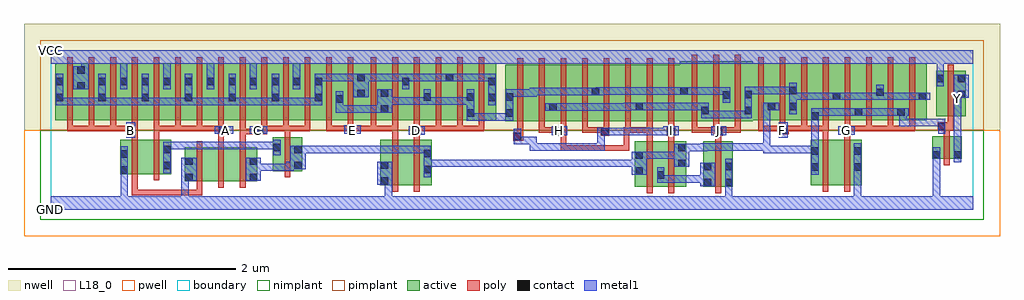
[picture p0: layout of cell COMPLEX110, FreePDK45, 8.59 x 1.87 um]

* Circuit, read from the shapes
.subckt COMPLEX110 A B C D E F G GND H I J VCC Y
M1 n1 B GND VSUBS nfet w=0.3u l=0.05u
M2 n2 A n1 VSUBS nfet w=0.3u l=0.05u
M3 n3 B GND VSUBS nfet w=0.3u l=0.05u
M4 n4 A n3 VSUBS nfet w=0.3u l=0.05u
M5 n5 C n4 VSUBS nfet w=0.3u l=0.05u
M6 n5 C n2 VSUBS nfet w=0.3u l=0.05u
M7 n6 E GND VSUBS nfet w=0.4u l=0.05u
M8 n5 D n6 VSUBS nfet w=0.4u l=0.05u
M9 n7 H n5 VSUBS nfet w=0.4u l=0.05u
M10 n5 I n7 VSUBS nfet w=0.4u l=0.05u
M11 GND J n7 VSUBS nfet w=0.4u l=0.05u
M12 n8 F n5 VSUBS nfet w=0.4u l=0.05u
M13 GND G n8 VSUBS nfet w=0.4u l=0.05u
M14 Y n5 GND VSUBS nfet w=0.2u l=0.05u
M15 VCC B n9 n10 pfet w=0.5u l=0.05u m=4
M16 VCC A n9 n10 pfet w=0.5u l=0.05u m=4
M17 VCC C n9 n10 pfet w=0.5u l=0.05u m=4
M18 n11 E n9 n10 pfet w=0.5u l=0.05u m=4
M19 n11 D n9 n10 pfet w=0.5u l=0.05u m=4
M20 n12 I n11 n10 pfet w=0.5u l=0.05u
M21 n13 H n12 n10 pfet w=0.5u l=0.05u
M22 n14 H n13 n10 pfet w=0.5u l=0.05u
M23 n11 I n14 n10 pfet w=0.5u l=0.05u
M24 n15 I n11 n10 pfet w=0.5u l=0.05u
M25 n13 H n15 n10 pfet w=0.5u l=0.05u
M26 n16 H n13 n10 pfet w=0.5u l=0.05u
M27 n11 I n16 n10 pfet w=0.5u l=0.05u
M28 n13 J n11 n10 pfet w=0.532u l=0.05u m=3
M29 n5 F n13 n10 pfet w=0.5u l=0.05u m=4
M30 n5 G n13 n10 pfet w=0.5u l=0.05u m=4
M31 Y n5 VCC n10 pfet w=0.4u l=0.05u
.ends

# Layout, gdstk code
import gdstk
lib = gdstk.Library(unit=1e-6, precision=1e-09)
def R(c, l, rs):  # rectangles x0, y0, x1, y1
    for r in rs: c.add(gdstk.rectangle(r[:2], r[2:], *l))
def A(c, l, x, y, w, h, nx, ny, dx, dy):  # array of equal rectangles
    R(c, l, [(x+i*dx, y+j*dy, x+i*dx+w, y+j*dy+h) for i in range(nx) for j in range(ny)])
active = (1, 0)
pwell = (2, 0)
nwell = (3, 0)
nimplant = (4, 0)
pimplant = (5, 0)
poly = (9, 0)
contact = (10, 0)
metal1 = (11, 0)
L18_0 = (18, 0)
boundary = (235, 0)

complex110 = lib.new_cell('COMPLEX110')
A(complex110, active, 0.415, 0.787, 0.265, 0.5, 4, 1, 0.19, 0)
A(complex110, active, 1.56, 0.787, 0.26, 0.5, 3, 1, 0.38, 0)
A(complex110, active, 0.415, 0.807, 0.075, 0.393, 3, 1, 0.38, 0)
A(complex110, active, 1.56, 0.807, 0.075, 0.393, 3, 1, 0.38, 0)
R(complex110, active, [(5.142,0.2,5.407,0.6), (5.332,0.2,5.592,0.6), (5.745,0.2,5.82,0.492), (5.745,0.2,6.005,0.6), (5.93,0.2,6.005,0.492), (2.902,0.212,3.127,0.612), (2.902,0.212,2.977,0.612), (3.127,0.212,3.352,0.612), (6.69,0.212,6.915,0.612), (6.915,0.212,7.14,0.612), (3.277,0.232,3.352,0.612), (7.065,0.232,7.14,0.612), (5.142,0.245,5.217,0.6), (5.332,0.245,5.407,0.492), (5.517,0.245,5.592,0.6), (6.69,0.245,6.765,0.612), (1.18,0.247,1.255,0.547), (1.18,0.247,1.405,0.547), (1.405,0.247,1.595,0.547), (1.595,0.247,1.82,0.547), (1.745,0.247,1.82,0.547), (0.61,0.312,0.685,0.612), (0.61,0.312,0.835,0.612), (0.835,0.312,1.06,0.612), (0.985,0.312,1.06,0.612), (1.955,0.337,2.215,0.637), (2.14,0.337,2.215,0.637), (1.955,0.345,2.03,0.637), (7.757,0.445,7.832,0.645), (7.757,0.445,8.017,0.645), (7.942,0.445,8.017,0.645), (4.002,0.775,4.227,1.275), (4.002,0.775,4.107,1.2), (4.227,0.775,4.457,1.275), (4.382,0.775,4.607,1.275), (4.607,0.775,4.832,1.275), (4.757,0.775,4.987,1.275), (4.987,0.775,5.217,1.275), (5.142,0.775,5.217,1.07), (5.142,0.775,5.367,1.275), (5.367,0.775,5.612,1.275), (5.537,0.775,5.797,1.307), (5.722,0.775,5.987,1.307), (5.722,0.775,5.797,1.07), (5.912,0.775,6.177,1.307), (5.912,0.775,5.987,1.2), (0.04,0.787,0.115,1.2), (0.04,0.787,0.305,1.287), (0.23,0.787,0.49,1.287), (1.175,0.787,1.445,1.287), (1.37,0.787,1.635,1.287), (1.745,0.787,2.015,1.287), (2.125,0.787,2.395,1.287), (2.505,0.787,2.77,1.287), (2.695,0.787,2.977,1.287), (2.902,0.787,3.162,1.287), (3.087,0.787,3.352,1.287), (3.277,0.787,3.547,1.287), (3.472,0.787,3.732,1.287), (3.657,0.787,3.922,1.287), (3.657,0.787,3.732,1.07), (3.847,0.787,3.922,1.2), (6.102,0.787,6.382,1.287), (6.307,0.787,6.572,1.287), (6.497,0.787,6.765,1.287), (6.69,0.787,6.952,1.287), (6.69,0.787,6.765,1.07), (6.877,0.787,7.147,1.287), (7.072,0.787,7.337,1.287), (7.262,0.787,7.522,1.287), (7.447,0.787,7.712,1.287), (7.637,0.787,7.712,1.2), (5.537,0.802,5.612,1.2), (6.877,0.802,6.952,1.2), (0.23,0.807,0.305,1.287), (0.605,0.807,0.68,1.255), (0.985,0.807,1.06,1.255), (1.37,0.807,1.445,1.255), (1.745,0.807,1.82,1.255), (2.125,0.807,2.2,1.255), (2.505,0.807,2.58,1.07), (2.695,0.807,2.77,1.2), (2.902,0.807,2.977,1.07), (3.087,0.807,3.162,1.2), (3.277,0.807,3.352,1.07), (3.472,0.807,3.547,1.2), (4.382,0.807,4.457,1.07), (4.757,0.807,4.832,1.2), (6.102,0.807,6.177,1.2), (6.307,0.807,6.382,1.07), (6.497,0.807,6.572,1.2), (7.072,0.807,7.147,1.07), (7.262,0.807,7.337,1.2), (7.447,0.807,7.522,1.07), (7.792,0.82,8.052,1.22), (7.792,0.82,7.867,1.22), (7.977,0.82,8.052,1.2)])
R(complex110, pwell, [(-0.235,-0.235,8.355,0.7)])
R(complex110, nwell, [(-0.235,0.7,8.355,1.635)])
R(complex110, nimplant, [(-0.09,-0.09,8.21,0.7)])
R(complex110, pimplant, [(-0.09,0.7,8.21,1.49)])
A(complex110, poly, 1.285, 0.192, 0.05, 0.41, 3, 1, 0.19, 0)
A(complex110, poly, 4.297, 0.675, 0.05, 0.095, 7, 1, 0.19, 0)
A(complex110, poly, 5.642, 0.675, 0.05, 0.095, 3, 1, 0.19, 0)
A(complex110, poly, 0.145, 0.687, 0.05, 0.095, 8, 1, 0.19, 0)
A(complex110, poly, 1.285, 0.687, 0.24, 0.05, 3, 1, 0.57, 0)
A(complex110, poly, 1.855, 0.687, 0.05, 0.095, 5, 1, 0.19, 0)
A(complex110, poly, 2.235, 0.687, 0.05, 0.05, 3, 1, 0.19, 0)
A(complex110, poly, 2.817, 0.687, 0.05, 0.095, 6, 1, 0.19, 0)
A(complex110, poly, 6.227, 0.687, 0.05, 0.095, 8, 1, 0.19, 0)
A(complex110, poly, 4.107, 0.72, 0.05, 0.61, 8, 1, 0.19, 0)
A(complex110, poly, 5.642, 0.72, 0.05, 0.642, 3, 1, 0.19, 0)
A(complex110, poly, 0.145, 0.732, 0.05, 0.61, 14, 1, 0.19, 0)
A(complex110, poly, 2.817, 0.732, 0.05, 0.61, 6, 1, 0.19, 0)
A(complex110, poly, 6.227, 0.732, 0.05, 0.61, 8, 1, 0.19, 0)
R(complex110, poly, [(0.715,0.125,0.765,0.175), (0.715,0.125,0.765,0.175), (0.715,0.125,0.765,0.175), (0.715,0.125,0.897,0.175), (0.715,0.125,0.765,0.307), (0.847,0.125,0.897,0.175), (0.847,0.125,0.897,0.175), (0.847,0.125,0.897,0.175), (0.847,0.125,1.16,0.175), (1.11,0.125,1.16,0.175), (1.11,0.125,1.16,0.175), (1.11,0.125,1.16,0.175), (1.11,0.125,1.335,0.175), (1.285,0.125,1.335,0.175), (1.285,0.125,1.335,0.242), (5.247,0.145,5.297,0.655), (5.437,0.145,5.487,0.655), (5.85,0.145,5.9,0.655), (3.007,0.157,3.057,0.667), (3.197,0.157,3.247,0.667), (6.795,0.157,6.845,0.667), (6.985,0.157,7.035,0.667), (0.715,0.257,0.765,0.667), (0.905,0.257,0.955,0.667), (2.06,0.282,2.11,0.692), (7.862,0.39,7.912,0.7), (4.487,0.517,4.537,0.567), (4.487,0.517,4.537,0.567), (4.487,0.517,4.537,0.567), (4.487,0.517,4.747,0.567), (4.487,0.517,4.537,0.7), (4.697,0.517,4.747,0.567), (4.697,0.517,4.747,0.567), (4.697,0.517,4.747,0.567), (4.697,0.517,4.96,0.567), (4.91,0.517,4.96,0.567), (4.91,0.517,5.092,0.567), (5.042,0.517,5.092,0.567), (5.042,0.517,5.092,0.567), (5.042,0.517,5.092,0.567), (5.042,0.517,5.092,0.725), (1.475,0.552,1.525,0.712), (1.665,0.552,1.715,0.712), (4.072,0.605,4.157,0.68), (5.247,0.605,5.297,0.725), (5.437,0.605,5.487,0.7), (5.85,0.605,5.9,0.7), (0.715,0.617,0.765,0.712), (0.905,0.617,0.955,0.737), (3.007,0.617,3.057,0.737), (3.197,0.617,3.247,0.712), (6.795,0.617,6.845,0.737), (6.985,0.617,7.035,0.712), (4.107,0.63,4.157,0.77), (2.06,0.642,2.11,0.737), (4.442,0.65,4.537,0.725), (4.487,0.65,4.537,0.7), (4.487,0.65,4.537,0.7), (4.842,0.65,4.917,0.725), (5.422,0.65,5.497,0.725), (5.832,0.65,5.917,0.725), (7.862,0.65,7.912,0.745), (0.675,0.662,0.765,0.737), (1.475,0.662,1.55,0.737), (1.665,0.662,1.715,0.712), (1.665,0.662,1.715,0.712), (1.665,0.662,1.715,0.712), (1.665,0.662,1.715,0.782), (1.665,0.662,1.852,0.712), (1.802,0.662,1.905,0.737), (2.615,0.662,2.69,0.737), (3.187,0.662,3.262,0.737), (6.417,0.662,6.495,0.737), (6.972,0.662,7.047,0.737), (4.297,0.675,4.347,0.725), (4.297,0.675,4.347,0.725), (4.297,0.675,4.347,0.725), (4.297,0.675,4.492,0.725), (4.677,0.675,4.727,0.725), (4.677,0.675,4.727,0.725), (4.677,0.675,4.727,0.725), (4.677,0.675,4.892,0.725), (5.042,0.675,5.092,0.725), (5.042,0.675,5.092,0.725), (5.042,0.675,5.107,0.725), (5.057,0.675,5.297,0.725), (5.247,0.675,5.297,0.725), (5.247,0.675,5.297,0.725), (5.247,0.675,5.297,0.725), (5.642,0.675,5.692,0.725), (5.642,0.675,5.692,0.725), (5.642,0.675,5.692,0.725), (5.642,0.675,5.882,0.725), (5.867,0.675,5.917,0.725), (5.867,0.675,5.917,0.725), (5.867,0.675,6.072,0.725), (6.022,0.675,6.072,0.725), (0.145,0.687,0.195,0.737), (0.145,0.687,0.195,0.737), (0.145,0.687,0.195,0.737), (0.145,0.687,0.385,0.737), (0.335,0.687,0.385,0.737), (0.335,0.687,0.385,0.737), (0.335,0.687,0.385,0.737), (0.335,0.687,0.575,0.737), (0.525,0.687,0.575,0.737), (0.525,0.687,0.575,0.737), (0.525,0.687,0.575,0.737), (0.525,0.687,0.725,0.737), (0.905,0.687,0.955,0.737), (0.905,0.687,0.955,0.737), (0.905,0.687,0.955,0.737), (0.905,0.687,1.145,0.737), (1.095,0.687,1.145,0.737), (1.095,0.687,1.16,0.737), (1.11,0.687,1.16,0.737), (1.11,0.687,1.335,0.737), (1.285,0.687,1.335,0.737), (1.475,0.687,1.525,0.737), (1.475,0.687,1.525,0.737), (1.855,0.687,1.905,0.737), (1.855,0.687,1.905,0.737), (2.045,0.687,2.11,0.737), (2.06,0.687,2.11,0.737), (2.06,0.687,2.11,0.737), (2.06,0.687,2.285,0.737), (2.615,0.687,2.665,0.737), (2.64,0.687,2.867,0.737), (2.817,0.687,2.867,0.737), (2.817,0.687,2.867,0.737), (2.817,0.687,2.867,0.737), (2.817,0.687,3.057,0.737), (3.007,0.687,3.057,0.737), (3.007,0.687,3.057,0.737), (3.007,0.687,3.057,0.737), (3.212,0.687,3.262,0.737), (3.212,0.687,3.262,0.737), (3.212,0.687,3.437,0.737), (3.387,0.687,3.437,0.737), (3.387,0.687,3.437,0.737), (3.387,0.687,3.437,0.737), (3.387,0.687,3.627,0.737), (3.577,0.687,3.627,0.737), (3.577,0.687,3.627,0.737), (3.577,0.687,3.627,0.737), (3.577,0.687,3.817,0.737), (3.767,0.687,3.817,0.737), (6.227,0.687,6.277,0.737), (6.227,0.687,6.277,0.737), (6.227,0.687,6.277,0.737), (6.227,0.687,6.467,0.737), (6.445,0.687,6.495,0.737), (6.445,0.687,6.495,0.737), (6.445,0.687,6.657,0.737), (6.607,0.687,6.657,0.737), (6.607,0.687,6.845,0.737), (6.795,0.687,6.845,0.737), (6.795,0.687,6.845,0.737), (6.795,0.687,6.847,0.737), (6.997,0.687,7.047,0.737), (6.997,0.687,7.047,0.737), (6.997,0.687,7.227,0.737), (7.177,0.687,7.227,0.737), (7.177,0.687,7.417,0.737), (7.367,0.687,7.417,0.737), (7.367,0.687,7.417,0.737), (7.367,0.687,7.417,0.737), (7.367,0.687,7.607,0.737), (7.557,0.687,7.607,0.737), (7.557,0.687,7.607,0.737), (7.557,0.687,7.607,0.737), (7.805,0.695,7.947,0.77), (7.897,0.72,7.947,0.815), (7.897,0.765,7.947,1.275)])
A(complex110, contact, 0.42, 0.955, 0.065, 0.065, 3, 1, 0.38, 0)
A(complex110, contact, 1.565, 0.955, 0.065, 0.065, 3, 1, 0.38, 0)
A(complex110, contact, 0.42, 1.095, 0.065, 0.065, 5, 1, 0.19, 0)
R(complex110, contact, [(5.75,0.205,5.815,0.27), (5.935,0.205,6,0.27), (2.907,0.217,2.972,0.282), (1.185,0.252,1.25,0.317), (1.75,0.252,1.815,0.317), (5.337,0.272,5.402,0.337), (5.147,0.305,5.212,0.37), (0.615,0.317,0.68,0.382), (3.282,0.32,3.347,0.385), (6.695,0.342,6.76,0.407), (7.07,0.342,7.135,0.407), (5.75,0.345,5.815,0.41), (5.935,0.345,6,0.41), (0.99,0.355,1.055,0.42), (2.145,0.355,2.21,0.42), (2.907,0.357,2.972,0.422), (5.522,0.375,5.587,0.44), (1.185,0.392,1.25,0.457), (1.75,0.392,1.815,0.457), (5.147,0.445,5.212,0.51), (7.762,0.45,7.827,0.515), (7.947,0.45,8.012,0.515), (0.615,0.457,0.68,0.522), (3.282,0.46,3.347,0.525), (6.695,0.482,6.76,0.547), (7.07,0.482,7.135,0.547), (0.99,0.495,1.055,0.56), (2.145,0.495,2.21,0.56), (1.96,0.512,2.025,0.577), (5.522,0.515,5.587,0.58), (4.077,0.61,4.142,0.675), (4.447,0.655,4.512,0.72), (4.847,0.655,4.912,0.72), (5.427,0.655,5.492,0.72), (5.847,0.655,5.912,0.72), (0.68,0.667,0.745,0.732), (1.48,0.667,1.545,0.732), (1.807,0.667,1.872,0.732), (2.62,0.667,2.685,0.732), (3.192,0.667,3.257,0.732), (6.422,0.667,6.487,0.732), (6.977,0.667,7.042,0.732), (7.81,0.7,7.875,0.765), (6.695,0.792,6.76,0.857), (3.662,0.817,3.727,0.882), (4.007,0.817,4.072,0.882), (7.077,0.827,7.142,0.892), (7.452,0.827,7.517,0.892), (5.727,0.84,5.792,0.905), (6.107,0.84,6.172,0.905), (2.907,0.852,2.972,0.917), (4.387,0.87,4.452,0.935), (5.147,0.875,5.212,0.94), (6.312,0.875,6.377,0.94), (6.502,0.875,6.567,0.94), (2.51,0.942,2.575,1.007), (0.045,0.955,0.11,1.02), (3.852,0.955,3.917,1.02), (3.282,0.957,3.347,1.022), (3.662,0.957,3.727,1.022), (4.007,0.957,4.072,1.022), (6.882,0.965,6.947,1.03), (7.642,0.965,7.707,1.03), (5.917,0.977,5.982,1.042), (6.107,0.98,6.172,1.045), (7.982,0.982,8.047,1.047), (2.7,0.99,2.765,1.055), (2.907,0.992,2.972,1.057), (7.267,1,7.332,1.065), (4.762,1.007,4.827,1.072), (5.542,1.012,5.607,1.077), (6.502,1.015,6.567,1.08), (0.235,1.057,0.3,1.122), (0.045,1.095,0.11,1.16), (1.375,1.095,1.44,1.16), (1.565,1.095,1.63,1.16), (1.75,1.095,1.815,1.16), (1.945,1.095,2.01,1.16), (2.13,1.095,2.195,1.16), (2.325,1.095,2.39,1.16), (3.092,1.095,3.157,1.16), (3.852,1.095,3.917,1.16), (7.797,1.122,7.862,1.187), (7.982,1.122,8.047,1.187), (2.7,1.13,2.765,1.195), (3.477,1.13,3.542,1.195), (0.235,1.197,0.3,1.262)])
A(complex110, metal1, 0.42, 0.92, 0.065, 0.275, 3, 1, 0.38, 0)
A(complex110, metal1, 1.565, 0.92, 0.065, 0.275, 3, 1, 0.38, 0)
R(complex110, metal1, [(0,0,8.12,0.115), (0.615,0.05,0.68,0.115), (0.615,0.05,0.68,0.115), (0.615,0.05,0.68,0.115), (0.615,0.05,0.68,0.115), (0.615,0.05,0.68,0.347), (1.15,0.05,1.215,0.115), (1.15,0.05,1.215,0.115), (1.15,0.05,1.215,0.317), (2.942,0.05,3.007,0.282), (5.935,0.05,6,0.235), (7.07,0.05,7.135,0.115), (7.07,0.05,7.135,0.115), (7.07,0.05,7.135,0.372), (7.762,0.05,7.827,0.115), (7.762,0.05,7.827,0.115), (7.762,0.05,7.827,0.115), (7.762,0.05,7.827,0.115), (7.762,0.05,7.827,0.115), (7.762,0.05,7.827,0.115), (7.762,0.05,7.827,0.48), (5.935,0.17,6,0.235), (5.935,0.17,6,0.235), (5.935,0.17,6,0.445), (5.715,0.205,5.85,0.41), (2.872,0.217,3.007,0.422), (2.942,0.217,3.007,0.282), (2.942,0.217,3.007,0.282), (5.337,0.237,5.402,0.372), (5.337,0.237,5.485,0.302), (5.42,0.237,5.485,0.302), (5.42,0.237,5.642,0.302), (5.577,0.237,5.642,0.302), (5.577,0.237,5.642,0.302), (5.577,0.237,5.642,0.302), (5.577,0.237,5.78,0.302), (1.15,0.252,1.215,0.317), (1.15,0.252,1.215,0.317), (1.15,0.252,1.285,0.457), (1.715,0.252,1.85,0.457), (0.615,0.282,0.68,0.557), (3.282,0.285,3.347,0.56), (5.112,0.305,5.247,0.51), (6.695,0.307,6.76,0.582), (7.07,0.307,7.135,0.582), (0.99,0.32,1.055,0.595), (1.785,0.34,1.85,0.405), (1.785,0.34,1.85,0.405), (1.785,0.34,2.037,0.405), (1.972,0.34,2.037,0.405), (1.972,0.34,2.14,0.405), (2.075,0.34,2.14,0.42), (2.075,0.355,2.175,0.42), (2.11,0.355,2.245,0.56), (3.282,0.375,3.347,0.44), (3.282,0.375,3.347,0.44), (3.282,0.375,3.59,0.44), (3.525,0.375,3.59,0.44), (3.525,0.375,3.59,0.44), (3.525,0.375,3.59,0.44), (3.525,0.375,3.727,0.44), (3.662,0.375,3.727,0.44), (3.662,0.375,3.727,0.44), (3.662,0.375,3.727,0.44), (3.662,0.375,3.865,0.44), (3.8,0.375,3.865,0.44), (3.8,0.375,3.865,0.44), (3.8,0.375,3.865,0.44), (3.8,0.375,4.142,0.44), (4.077,0.375,4.142,0.44), (4.077,0.375,4.142,0.44), (4.077,0.375,4.142,0.44), (4.077,0.375,4.28,0.44), (4.215,0.375,4.28,0.44), (4.215,0.375,4.28,0.44), (4.215,0.375,4.28,0.44), (4.215,0.375,4.417,0.44), (4.352,0.375,4.417,0.44), (4.352,0.375,4.417,0.44), (4.352,0.375,4.417,0.44), (4.352,0.375,4.625,0.44), (4.56,0.375,4.625,0.44), (4.56,0.375,4.625,0.44), (4.56,0.375,4.625,0.44), (4.56,0.375,4.877,0.44), (4.812,0.375,4.877,0.44), (4.812,0.375,4.877,0.44), (4.812,0.375,4.877,0.44), (4.812,0.375,5.015,0.44), (4.95,0.375,5.015,0.44), (4.95,0.375,5.085,0.44), (5.02,0.375,5.085,0.44), (5.02,0.375,5.177,0.44), (5.487,0.375,5.622,0.58), (7.762,0.415,7.827,0.55), (7.947,0.415,8.012,0.55), (5.182,0.445,5.247,0.51), (5.182,0.445,5.247,0.51), (5.182,0.445,5.385,0.51), (5.32,0.445,5.385,0.51), (5.32,0.445,5.385,0.51), (5.32,0.445,5.385,0.51), (5.32,0.445,5.552,0.51), (1.96,0.477,2.025,0.612), (7.947,0.485,8.012,0.977), (2.18,0.495,2.277,0.56), (2.212,0.495,2.277,0.56), (2.212,0.495,2.415,0.56), (2.35,0.495,2.415,0.56), (2.35,0.495,2.415,0.56), (2.35,0.495,2.415,0.56), (2.35,0.495,2.592,0.56), (2.527,0.495,2.592,0.56), (2.527,0.495,2.592,0.56), (2.527,0.495,2.592,0.56), (2.527,0.495,2.792,0.56), (2.727,0.495,2.792,0.56), (2.727,0.495,2.792,0.56), (2.727,0.495,2.792,0.56), (2.727,0.495,3.02,0.56), (2.955,0.495,3.02,0.56), (2.955,0.495,3.02,0.56), (2.955,0.495,3.02,0.56), (2.955,0.495,3.157,0.56), (3.092,0.495,3.157,0.56), (3.092,0.495,3.157,0.56), (3.092,0.495,3.157,0.56), (3.092,0.495,3.347,0.56), (6.27,0.495,6.567,0.56), (6.27,0.495,6.335,0.582), (6.502,0.495,6.567,0.56), (6.502,0.495,6.567,0.56), (6.502,0.495,6.567,0.56), (6.502,0.495,6.705,0.56), (6.64,0.495,6.705,0.56), (6.64,0.495,6.76,0.56), (5.557,0.515,5.622,0.58), (5.557,0.515,5.622,0.58), (5.557,0.515,5.78,0.58), (5.715,0.515,5.78,0.582), (4.215,0.517,4.28,0.582), (4.215,0.517,4.28,0.582), (4.215,0.517,4.28,0.582), (4.215,0.517,4.417,0.582), (4.215,0.517,4.28,0.64), (4.352,0.517,4.417,0.582), (4.352,0.517,4.417,0.582), (4.352,0.517,4.417,0.582), (4.352,0.517,4.655,0.582), (4.59,0.517,4.655,0.582), (4.59,0.517,4.655,0.582), (4.59,0.517,4.655,0.582), (4.59,0.517,4.877,0.582), (4.812,0.517,4.877,0.582), (4.812,0.517,4.877,0.72), (5.715,0.517,5.78,0.582), (5.715,0.517,5.78,0.582), (5.715,0.517,6.035,0.582), (5.97,0.517,6.035,0.582), (5.97,0.517,6.197,0.582), (6.132,0.517,6.197,0.582), (6.132,0.517,6.197,0.582), (6.132,0.517,6.197,0.582), (6.132,0.517,6.335,0.582), (6.27,0.517,6.335,0.582), (6.27,0.517,6.335,0.582), (6.27,0.517,6.335,0.582), (6.27,0.517,6.335,0.582), (6.27,0.517,6.335,0.582), (6.27,0.517,6.335,0.582), (6.27,0.517,6.335,0.94), (6.695,0.517,6.76,0.822), (0.99,0.53,1.055,0.595), (0.99,0.53,1.055,0.595), (0.99,0.53,1.285,0.595), (1.22,0.53,1.285,0.595), (1.22,0.53,1.285,0.595), (1.22,0.53,1.285,0.595), (1.22,0.53,1.422,0.595), (1.357,0.53,1.422,0.595), (1.357,0.53,1.422,0.595), (1.357,0.53,1.422,0.595), (1.357,0.53,1.642,0.595), (1.577,0.53,1.642,0.595), (1.577,0.53,1.642,0.595), (1.577,0.53,1.642,0.595), (1.577,0.53,1.872,0.595), (1.807,0.53,1.872,0.595), (1.807,0.53,1.872,0.595), (1.807,0.53,1.872,0.595), (1.807,0.53,2.025,0.595), (4.077,0.575,4.142,0.71), (4.077,0.575,4.28,0.64), (4.215,0.575,4.28,0.64), (0.667,0.63,0.745,0.767), (6.407,0.632,6.487,0.767), (4.412,0.655,4.547,0.732), (4.812,0.655,4.877,0.72), (4.812,0.655,4.877,0.72), (4.812,0.655,4.947,0.72), (4.882,0.655,5.04,0.72), (4.975,0.655,5.04,0.72), (4.975,0.655,5.085,0.72), (5.02,0.655,5.085,0.72), (5.02,0.655,5.247,0.72), (5.182,0.655,5.247,0.72), (5.182,0.655,5.247,0.72), (5.182,0.655,5.247,0.72), (5.182,0.655,5.385,0.72), (5.32,0.655,5.385,0.72), (5.32,0.655,5.457,0.72), (5.392,0.655,5.527,0.732), (5.812,0.655,5.947,0.732), (3.152,0.657,3.292,0.732), (6.932,0.66,7.077,0.732), (7.81,0.665,7.875,0.8), (1.445,0.667,1.607,0.732), (1.752,0.667,1.907,0.732), (2.585,0.667,2.727,0.74), (7.47,0.735,7.535,0.8), (7.47,0.735,7.69,0.8), (7.47,0.735,7.535,0.892), (7.625,0.735,7.69,0.8), (7.625,0.735,7.69,0.8), (7.625,0.735,7.69,0.8), (7.625,0.735,7.875,0.8), (7.81,0.735,7.875,0.8), (7.81,0.735,7.875,0.8), (6.695,0.757,6.76,0.822), (6.695,0.757,6.76,0.822), (6.695,0.757,6.76,0.822), (6.695,0.757,6.76,0.822), (6.695,0.757,6.76,0.822), (6.695,0.757,6.76,0.822), (6.695,0.757,6.76,0.892), (3.662,0.782,3.865,0.847), (3.662,0.782,3.727,1.057), (3.8,0.782,3.865,0.847), (3.8,0.782,3.865,0.847), (3.8,0.782,3.865,0.847), (3.8,0.782,4.072,0.847), (4.007,0.782,4.072,1.057), (5.727,0.805,5.792,0.94), (5.727,0.805,6.035,0.87), (5.97,0.805,6.035,0.87), (5.97,0.805,6.035,0.87), (5.97,0.805,6.035,0.87), (5.97,0.805,6.172,0.87), (6.107,0.805,6.172,0.87), (6.107,0.805,6.172,0.87), (6.107,0.805,6.172,1.08), (6.695,0.827,6.842,0.892), (6.777,0.827,6.842,0.892), (6.777,0.827,6.97,0.892), (6.905,0.827,6.97,0.892), (6.905,0.827,7.07,0.892), (7.005,0.827,7.07,0.892), (7.005,0.827,7.107,0.892), (7.042,0.827,7.177,0.892), (7.112,0.827,7.207,0.892), (7.142,0.827,7.207,0.892), (7.142,0.827,7.345,0.892), (7.28,0.827,7.345,0.892), (7.28,0.827,7.345,0.892), (7.28,0.827,7.345,0.892), (7.28,0.827,7.482,0.892), (7.417,0.827,7.552,0.892), (6.502,0.84,6.567,1.115), (2.51,0.852,2.8,0.917), (2.51,0.852,2.575,0.972), (2.735,0.852,2.8,0.917), (2.735,0.852,2.8,0.917), (2.735,0.852,2.8,0.917), (2.735,0.852,2.937,0.917), (2.872,0.852,3.007,1.057), (4.352,0.87,4.487,0.935), (4.422,0.87,4.487,0.935), (4.422,0.87,4.487,0.935), (4.422,0.87,4.625,0.935), (4.56,0.87,4.625,0.935), (4.56,0.87,4.625,0.935), (4.56,0.87,4.625,0.935), (4.56,0.87,4.792,0.935), (4.727,0.87,4.792,0.935), (4.727,0.87,4.792,0.935), (4.727,0.87,4.792,0.935), (4.727,0.87,5.015,0.935), (4.95,0.87,5.015,0.935), (4.95,0.87,5.11,0.935), (5.045,0.87,5.11,0.94), (5.045,0.875,5.177,0.94), (5.112,0.875,5.247,0.94), (5.182,0.875,5.247,0.94), (5.182,0.875,5.247,0.94), (5.182,0.875,5.415,0.94), (5.35,0.875,5.415,0.94), (5.35,0.875,5.415,0.94), (5.35,0.875,5.415,0.94), (5.35,0.875,5.622,0.94), (5.557,0.875,5.622,0.94), (5.557,0.875,5.622,0.94), (5.557,0.875,5.622,0.94), (5.557,0.875,5.792,0.94), (6.27,0.875,6.335,0.94), (6.27,0.875,6.335,0.94), (6.27,0.875,6.412,0.94), (2.51,0.907,2.575,0.972), (2.51,0.907,2.575,1.042), (7.947,0.912,8.012,1.047), (0.045,0.92,0.11,0.985), (0.045,0.92,0.11,0.985), (0.045,0.92,0.247,0.985), (0.045,0.92,0.11,1.195), (0.182,0.92,0.247,0.985), (0.182,0.92,0.247,0.985), (0.182,0.92,0.247,0.985), (0.182,0.92,0.485,0.985), (0.42,0.92,0.485,0.985), (0.42,0.92,0.485,0.985), (0.42,0.92,0.622,0.985), (0.557,0.92,0.622,0.985), (0.557,0.92,0.622,0.985), (0.557,0.92,0.622,0.985), (0.557,0.92,0.865,0.985), (0.8,0.92,0.865,0.985), (0.8,0.92,0.865,0.985), (0.8,0.92,1.002,0.985), (0.937,0.92,1.002,0.985), (0.937,0.92,1.002,0.985), (0.937,0.92,1.002,0.985), (0.937,0.92,1.245,0.985), (1.18,0.92,1.245,0.985), (1.18,0.92,1.245,0.985), (1.18,0.92,1.422,0.985), (1.357,0.92,1.422,0.985), (1.357,0.92,1.422,0.985), (1.357,0.92,1.422,0.985), (1.357,0.92,1.63,0.985), (1.565,0.92,1.63,0.985), (1.565,0.92,1.63,0.985), (1.565,0.92,1.872,0.985), (1.807,0.92,1.872,0.985), (1.807,0.92,1.872,0.985), (1.807,0.92,1.872,0.985), (1.807,0.92,2.01,0.985), (1.945,0.92,2.01,0.985), (1.945,0.92,2.01,0.985), (1.945,0.92,2.252,0.985), (2.187,0.92,2.252,0.985), (2.187,0.92,2.277,0.985), (2.212,0.92,2.277,0.985), (2.212,0.92,2.39,0.985), (3.852,0.92,3.917,1.195), (2.942,0.922,3.007,0.987), (2.942,0.922,3.007,0.987), (2.942,0.922,3.18,0.987), (3.115,0.922,3.18,0.987), (3.115,0.922,3.18,0.987), (3.115,0.922,3.18,0.987), (3.115,0.922,3.347,0.987), (3.282,0.922,3.347,0.987), (3.282,0.922,3.347,0.987), (3.282,0.922,3.347,1.057), (3.282,0.922,3.485,0.987), (3.42,0.922,3.485,0.987), (3.42,0.922,3.727,0.987), (3.662,0.922,3.727,0.987), (3.662,0.922,3.727,0.987), (5.917,0.942,5.982,1.077), (6.502,0.965,6.705,1.03), (6.64,0.965,6.705,1.03), (6.64,0.965,6.705,1.03), (6.64,0.965,6.705,1.03), (6.64,0.965,6.842,1.03), (6.777,0.965,6.842,1.03), (6.777,0.965,6.912,1.03), (6.847,0.965,6.982,1.03), (6.905,0.965,6.97,1.03), (6.905,0.965,6.97,1.03), (6.905,0.965,7.07,1.03), (7.005,0.965,7.07,1.03), (7.005,0.965,7.12,1.03), (7.055,0.965,7.12,1.03), (7.055,0.965,7.207,1.03), (7.142,0.965,7.207,1.03), (7.142,0.965,7.332,1.03), (7.267,0.965,7.332,1.1), (7.267,0.965,7.482,1.03), (7.417,0.965,7.482,1.03), (7.417,0.965,7.482,1.03), (7.417,0.965,7.482,1.03), (7.417,0.965,7.672,1.03), (7.607,0.965,7.672,1.03), (7.607,0.965,7.672,1.03), (7.607,0.965,7.742,1.03), (7.947,0.982,8.012,1.047), (7.947,0.982,8.082,1.187), (2.665,0.99,2.8,1.195), (4.007,0.992,4.072,1.057), (4.007,0.992,4.072,1.057), (4.007,0.992,4.28,1.057), (4.215,0.992,4.28,1.072), (4.215,1.007,4.28,1.072), (4.215,1.007,4.28,1.072), (4.215,1.007,4.417,1.072), (4.352,1.007,4.417,1.072), (4.352,1.007,4.417,1.072), (4.352,1.007,4.417,1.072), (4.352,1.007,4.655,1.072), (4.59,1.007,4.655,1.072), (4.59,1.007,4.655,1.072), (4.59,1.007,4.655,1.072), (4.59,1.007,4.792,1.072), (4.727,1.007,4.862,1.072), (4.797,1.007,4.862,1.072), (4.797,1.007,4.862,1.077), (4.797,1.012,5.015,1.077), (4.95,1.012,5.015,1.077), (4.95,1.012,5.11,1.077), (5.045,1.012,5.11,1.077), (5.045,1.012,5.247,1.077), (5.182,1.012,5.247,1.077), (5.182,1.012,5.247,1.077), (5.182,1.012,5.247,1.077), (5.182,1.012,5.385,1.077), (5.32,1.012,5.385,1.077), (5.32,1.012,5.385,1.077), (5.32,1.012,5.385,1.077), (5.32,1.012,5.572,1.077), (5.507,1.012,5.642,1.077), (5.577,1.012,5.642,1.077), (5.577,1.012,5.642,1.077), (5.577,1.012,5.845,1.077), (5.78,1.012,5.845,1.077), (5.78,1.012,5.982,1.077), (5.917,1.012,5.982,1.077), (5.917,1.012,5.982,1.077), (6.107,1.015,6.172,1.08), (6.107,1.015,6.172,1.08), (6.107,1.015,6.335,1.08), (6.27,1.015,6.335,1.08), (6.27,1.015,6.335,1.08), (6.27,1.015,6.335,1.08), (6.27,1.015,6.567,1.08), (6.502,1.015,6.567,1.08), (6.502,1.015,6.567,1.08), (0.2,1.057,0.335,1.262), (0.61,1.06,0.675,1.195), (0.99,1.06,1.055,1.195), (1.375,1.06,1.44,1.195), (1.75,1.06,1.815,1.195), (2.13,1.06,2.195,1.195), (3.092,1.06,3.157,1.195), (7.797,1.087,7.862,1.222), (0.61,1.13,0.675,1.35), (0.99,1.13,1.055,1.35), (1.375,1.13,1.44,1.35), (1.75,1.13,1.815,1.35), (2.13,1.13,2.195,1.35), (2.325,1.13,2.415,1.195), (2.35,1.13,2.415,1.195), (2.35,1.13,2.56,1.195), (2.495,1.13,2.56,1.195), (2.495,1.13,2.56,1.195), (2.495,1.13,2.56,1.195), (2.495,1.13,2.73,1.195), (2.735,1.13,2.8,1.195), (2.735,1.13,2.8,1.195), (2.735,1.13,2.937,1.195), (2.872,1.13,2.937,1.195), (2.872,1.13,2.937,1.195), (2.872,1.13,2.937,1.195), (2.872,1.13,3.157,1.195), (3.092,1.13,3.21,1.195), (3.145,1.13,3.21,1.195), (3.145,1.13,3.347,1.195), (3.282,1.13,3.347,1.195), (3.282,1.13,3.347,1.195), (3.282,1.13,3.347,1.195), (3.282,1.13,3.507,1.195), (3.442,1.13,3.577,1.195), (3.512,1.13,3.577,1.195), (3.512,1.13,3.577,1.195), (3.512,1.13,3.727,1.195), (3.662,1.13,3.727,1.195), (3.662,1.13,3.917,1.195), (3.852,1.13,3.917,1.195), (3.852,1.13,3.917,1.195), (7.797,1.157,7.862,1.35), (0.27,1.197,0.335,1.35), (0,1.285,8.12,1.4)])
A(complex110, L18_0, 5.847, 0.667, 0.065, 0.065, 3, 1, 0.56, 0)
R(complex110, L18_0, [(0,0,8.12,0.115), (0.615,0.05,0.68,0.115), (0.615,0.05,0.68,0.115), (0.615,0.05,0.68,0.115), (0.615,0.05,0.68,0.115), (0.615,0.05,0.68,0.347), (1.15,0.05,1.215,0.115), (1.15,0.05,1.215,0.115), (1.15,0.05,1.215,0.317), (2.942,0.05,3.007,0.282), (5.935,0.05,6,0.235), (7.07,0.05,7.135,0.115), (7.07,0.05,7.135,0.115), (7.07,0.05,7.135,0.372), (7.762,0.05,7.827,0.115), (7.762,0.05,7.827,0.115), (7.762,0.05,7.827,0.115), (7.762,0.05,7.827,0.115), (7.762,0.05,7.827,0.115), (7.762,0.05,7.827,0.115), (7.762,0.05,7.827,0.48), (5.935,0.17,6,0.235), (5.935,0.17,6,0.235), (5.935,0.17,6,0.445), (2.872,0.217,3.007,0.422), (2.942,0.217,3.007,0.282), (2.942,0.217,3.007,0.282), (1.15,0.252,1.285,0.457), (1.15,0.252,1.215,0.317), (1.15,0.252,1.215,0.317), (0.615,0.282,0.68,0.557), (7.07,0.307,7.135,0.582), (7.762,0.415,7.827,0.55), (7.947,0.415,8.012,0.55), (7.947,0.485,8.012,0.977), (4.215,0.517,4.28,0.582), (4.215,0.517,4.28,0.582), (4.215,0.517,4.28,0.582), (4.215,0.517,4.28,0.64), (4.215,0.517,4.417,0.582), (4.352,0.517,4.417,0.582), (4.352,0.517,4.417,0.582), (4.352,0.517,4.417,0.582), (4.352,0.517,4.655,0.582), (4.59,0.517,4.655,0.582), (4.59,0.517,4.655,0.582), (4.59,0.517,4.655,0.582), (4.59,0.517,4.877,0.582), (4.812,0.517,4.877,0.582), (4.812,0.517,4.877,0.72), (4.077,0.575,4.142,0.71), (4.077,0.575,4.28,0.64), (4.215,0.575,4.28,0.64), (0.667,0.63,0.745,0.767), (6.407,0.632,6.487,0.767), (4.412,0.655,4.547,0.732), (4.812,0.655,4.877,0.72), (4.812,0.655,4.877,0.72), (4.812,0.655,4.947,0.72), (4.882,0.655,5.04,0.72), (4.975,0.655,5.04,0.72), (4.975,0.655,5.085,0.72), (5.02,0.655,5.085,0.72), (5.02,0.655,5.247,0.72), (5.182,0.655,5.247,0.72), (5.182,0.655,5.247,0.72), (5.182,0.655,5.247,0.72), (5.182,0.655,5.385,0.72), (5.32,0.655,5.385,0.72), (5.32,0.655,5.457,0.72), (5.392,0.655,5.527,0.732), (5.812,0.655,5.947,0.732), (3.152,0.657,3.292,0.732), (6.932,0.66,7.077,0.732), (0.667,0.667,0.732,0.732), (1.445,0.667,1.607,0.732), (1.507,0.667,1.572,0.732), (1.752,0.667,1.907,0.732), (1.787,0.667,1.852,0.732), (2.585,0.667,2.727,0.74), (2.627,0.667,2.692,0.732), (3.187,0.667,3.252,0.732), (4.447,0.667,4.512,0.732), (5.427,0.667,5.492,0.732), (7.947,0.912,8.012,1.047), (7.947,0.947,8.012,1.012), (7.947,0.982,8.082,1.187), (7.947,0.982,8.012,1.047), (0.2,1.057,0.335,1.262), (0.61,1.06,0.675,1.195), (0.99,1.06,1.055,1.195), (1.375,1.06,1.44,1.195), (1.75,1.06,1.815,1.195), (2.13,1.06,2.195,1.195), (7.797,1.087,7.862,1.222), (0.61,1.13,0.675,1.35), (0.99,1.13,1.055,1.35), (1.375,1.13,1.44,1.35), (1.75,1.13,1.815,1.35), (2.13,1.13,2.195,1.35), (7.797,1.157,7.862,1.35), (0.27,1.197,0.335,1.35), (0,1.285,8.12,1.4)])
R(complex110, boundary, [(0,0,8.12,1.4)])
complex110.add(gdstk.Label('A', (1.54,0.7), layer=11, texttype=0))
complex110.add(gdstk.Label('B', (0.7,0.7), layer=11, texttype=0))
complex110.add(gdstk.Label('C', (1.82,0.7), layer=11, texttype=0))
complex110.add(gdstk.Label('D', (3.22,0.7), layer=11, texttype=0))
complex110.add(gdstk.Label('E', (2.66,0.7), layer=11, texttype=0))
complex110.add(gdstk.Label('F', (6.44,0.7), layer=11, texttype=0))
complex110.add(gdstk.Label('G', (7,0.7), layer=11, texttype=0))
complex110.add(gdstk.Label('H', (4.48,0.7), layer=11, texttype=0))
complex110.add(gdstk.Label('I', (5.46,0.7), layer=11, texttype=0))
complex110.add(gdstk.Label('J', (5.88,0.7), layer=11, texttype=0))
complex110.add(gdstk.Label('Y', (7.98,0.98), layer=11, texttype=0))
complex110.add(gdstk.Label('VCC', (0,1.4), layer=11, texttype=0))
complex110.add(gdstk.Label('GND', (0,0), layer=11, texttype=0))

lib.write_gds('COMPLEX110.gds')
